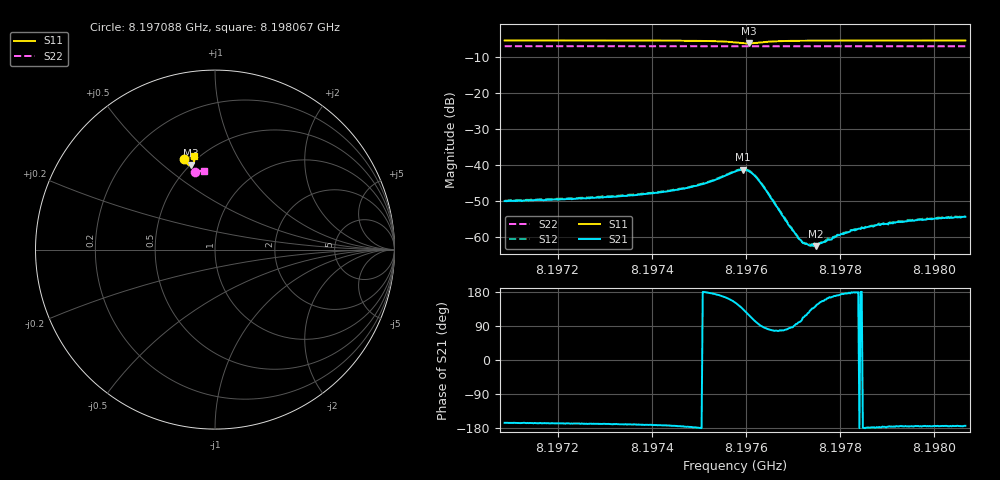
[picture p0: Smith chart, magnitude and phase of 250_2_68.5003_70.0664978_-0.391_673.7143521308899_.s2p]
#  HZ  S  RI  R  50.00
! Rohde & Schwarz Vector Network Analyzer
! Rohde-Schwarz,ZNB20-2Port,1311601062101988,3.16
! Created: UTC 3/20/2024, 5:14:55 PM
! freq[Hz]  re:S11  im:S11  re:S21  im:S21  re:S12  im:S12  re:S22  im:S22
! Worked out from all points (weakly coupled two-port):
!   401 points, 8.197088 GHz to 8.198067 GHz, reference 50 ohm
!   highest |S21| = -41.32 dB at 8.197594 GHz (marker M1); lowest = -62.4 dB at 8.197748 GHz (marker M2)
!   lowest |S11| = -6.2 dB at 8.197606 GHz (marker M3), VSWR 2.91, Z = 25.3 + j31.2 ohm
!   |S11| at or under -10 dB: nowhere
!   |S22| runs from -7.1 to -7.0 dB; largest |S21 - S12| = 0.00041
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8.1970876e9  -0.1749 0.5063  -0.00306 -0.000777  -0.00317 -0.000693  -0.1134 0.4313
8.1972516e9  -0.1621 0.51  -0.00335 -0.000741  -0.00346 -0.000575  -0.1044 0.4333
8.1973641e9  -0.152 0.5123  -0.00376 -0.000664  -0.00386 -0.000506  -0.0981 0.4345
8.1974155e9  -0.1464 0.513  -0.00412 -0.000586  -0.00423 -0.000407  -0.0951 0.4351
8.1974767e9  -0.1379 0.513  -0.00481 -0.000342  -0.0049 -0.000124  -0.0917 0.4357
8.197511e9  -0.1314 0.5115  -0.00551 4.94e-05  -0.00561 0.000304  -0.0897 0.436
8.1975771e9  -0.116 0.4903  -0.00714 0.00385  -0.00713 0.00422  -0.0858 0.4359
8.1975942e9  -0.1216 0.4762  -0.00597 0.00618  -0.00583 0.00654  -0.0851 0.4357
8.1976064e9  -0.133 0.4696  -0.00395 0.00723  -0.00372 0.00753  -0.0848 0.4357
8.1976187e9  -0.146 0.4712  -0.00166 0.00694  -0.00141 0.00713  -0.0845 0.4358
8.1976309e9  -0.1548 0.4783  -0.000104 0.00571  0.00011 0.00586  -0.084 0.4362
8.1976945e9  -0.1529 0.5059  0.000122 0.00137  0.000177 0.00138  -0.0803 0.4375
8.1977166e9  -0.1494 0.5095  -0.000186 0.00089  -0.000191 0.000912  -0.0791 0.4379
8.1977264e9  -0.148 0.5105  -0.000375 0.000722  -0.000307 0.000738  -0.0783 0.4378
8.1977411e9  -0.1459 0.5121  -0.000568 0.000549  -0.000527 0.000604  -0.0776 0.4379
8.1977484e9  -0.145 0.5126  -0.000596 0.000463  -0.000629 0.000509  -0.0773 0.438
8.1977973e9  -0.139 0.5156  -0.00104 0.000166  -0.00106 0.0002  -0.0745 0.4385
8.1978267e9  -0.136 0.5169  -0.00124 4.55e-05  -0.00125 0.000104  -0.0727 0.4387
8.1978855e9  -0.1305 0.5185  -0.00147 -6.21e-05  -0.00151 -3.98e-06  -0.0694 0.4392
8.197905e9  -0.1288 0.5191  -0.00158 -0.000132  -0.00159 -5.5e-05  -0.0683 0.4393
8.1979662e9  -0.1236 0.5204  -0.00173 -0.000181  -0.00177 -7.97e-05  -0.0648 0.4397
8.1980666e9  -0.1157 0.5224  -0.0019 -0.00021  -0.00196 -0.000116  -0.0591 0.4404
